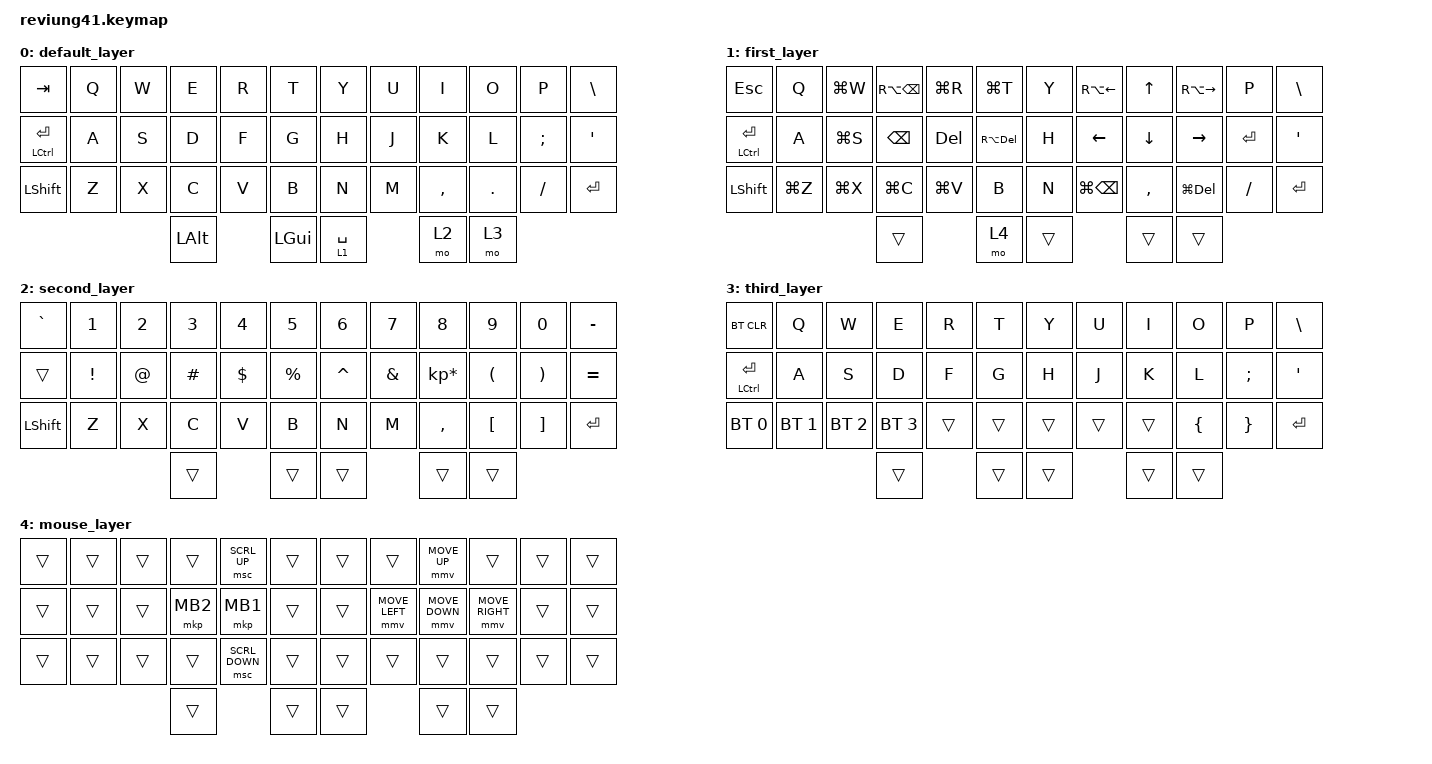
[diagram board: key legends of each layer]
/*
 * Copyright (c) 2020 The ZMK Contributors
 *
 * SPDX-License-Identifier: MIT
 */

#include <behaviors.dtsi>
#include <dt-bindings/zmk/keys.h>
#include <dt-bindings/zmk/bt.h>
#include <dt-bindings/zmk/rgb.h>

#define ZMK_POINTING_DEFAULT_MOVE_VAL 1000  // default: 600
#define ZMK_POINTING_DEFAULT_SCRL_VAL 80    // default: 10

#include <dt-bindings/zmk/pointing.h>


/ {
        keymap {
                compatible = "zmk,keymap";

                default_layer {
// -------------------------------------------------------------------------------------

                        bindings = <
&kp TAB   &kp Q &kp W &kp E &kp R &kp T   &kp Y &kp U  &kp I     &kp O   &kp P    &kp BSLH
&mt LCTRL RET &kp A &kp S &kp D &kp F &kp G   &kp H &kp J  &kp K     &kp L   &kp SEMI &kp SQT
&kp LSHFT &kp Z &kp X &kp C &kp V &kp B   &kp N &kp M  &kp COMMA &kp DOT &kp FSLH &kp RET
                        &kp LALT  &kp LGUI &lt 1 SPACE &mo 2  &mo 3
                        >;
                };

                first_layer {
// ----------------------------------------------------------------------------------

                        bindings = <
&kp ESC  &kp Q &kp LG(W) &kp RA(BSPC) &kp LG(R) &kp LG(T)   &kp Y &kp RA(LEFT)  &kp UP    &kp RA(RIGHT) &kp P    &kp BSLH
&mt LCTRL RET &kp A &kp LG(S) &kp BSPC     &kp DEL   &kp RA(DEL) &kp H &kp LEFT      &kp DOWN  &kp RIGHT     &kp RET &kp SQT
&kp LSHFT     &kp LG(Z) &kp LG(X)     &kp LG(C)    &kp LG(V) &kp B       &kp N &kp LG(BSPC)  &kp COMMA &kp LG(DEL)   &kp FSLH &kp RET
                                 &trans   &mo 4   &trans    &trans     &trans
                        >;
                 };
                
                second_layer {
// -----------------------------------------------------------------------------------------

                        bindings = <
&kp GRAVE &kp N1   &kp N2 &kp N3   &kp N4   &kp N5      &kp N6    &kp N7    &kp N8          &kp N9   &kp N0   &kp MINUS
&trans  &kp EXCL &kp AT &kp HASH &kp DLLR &kp PRCNT   &kp CARET &kp AMPS  &kp KP_MULTIPLY &kp LPAR &kp RPAR &kp EQUAL
&kp LSHFT &kp Z &kp X &kp C &kp V &kp B   &kp N &kp M  &kp COMMA &kp LBKT &kp RBKT &kp RET
                                &trans      &trans       &trans        &trans      &trans
                        >;
                };

                third_layer {
// -----------------------------------------------------------------------------------------

                        bindings = <
&bt BT_CLR   &kp Q &kp W &kp E &kp R &kp T              &kp Y &kp U  &kp I     &kp O   &kp P    &kp BSLH
&mt LCTRL RET &kp A &kp S &kp D &kp F &kp G             &kp H &kp J  &kp K     &kp L   &kp SEMI &kp SQT
&bt BT_SEL 0   &bt BT_SEL 1 &bt BT_SEL 2   &bt BT_SEL 3   &trans &trans                 &trans &trans &trans &kp LBRC &kp RBRC &kp RET
                                                             &trans      &trans       &trans        &trans      &trans
                        >;
                };

                mouse_layer {
// -----------------------------------------------------------------------------------------

                        bindings = <
&trans &trans &trans &trans &msc SCRL_UP &trans &trans &trans &mmv MOVE_UP &trans &trans &trans
&trans &trans &trans &mkp MB2 &mkp MB1 &trans &trans &mmv MOVE_LEFT &mmv MOVE_DOWN &mmv MOVE_RIGHT &trans &trans
&trans &trans &trans &trans &msc SCRL_DOWN &trans &trans &trans &trans &trans &trans &trans
&trans &trans &trans &trans &trans
                        >;
                };
        };
};
